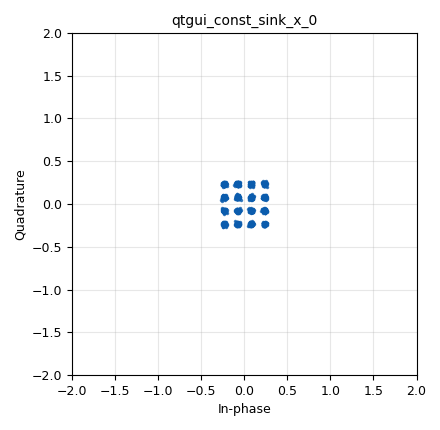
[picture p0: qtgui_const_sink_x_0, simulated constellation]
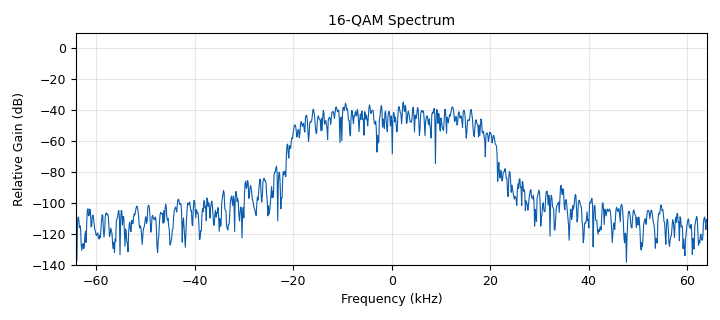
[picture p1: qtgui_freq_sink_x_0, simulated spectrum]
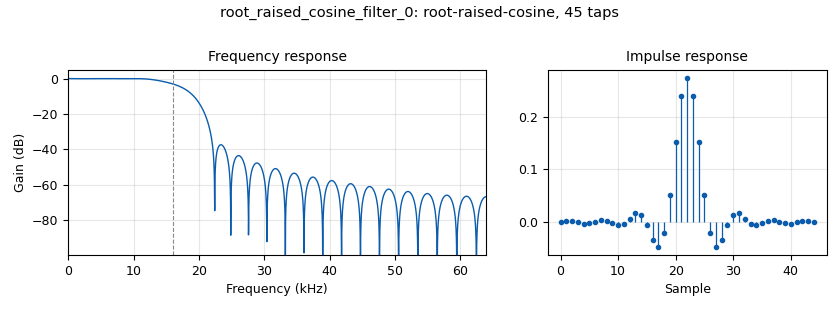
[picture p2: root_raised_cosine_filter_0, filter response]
options:
  parameters:
    generate_options: qt_gui
    id: qam16_sdr_simulation
    output_language: python
    title: 16-QAM SDR Simulation
  states: {}

blocks:
- name: constellation_16qam
  id: variable
  parameters:
    value: |-
      digital.constellation_calcdist(
          [
              (-3-3j)/3.16227766, (-3-1j)/3.16227766,
              (-3+1j)/3.16227766, (-3+3j)/3.16227766,
              (-1-3j)/3.16227766, (-1-1j)/3.16227766,
              (-1+1j)/3.16227766, (-1+3j)/3.16227766,
              (1-3j)/3.16227766, (1-1j)/3.16227766,
              (1+1j)/3.16227766, (1+3j)/3.16227766,
              (3-3j)/3.16227766, (3-1j)/3.16227766,
              (3+1j)/3.16227766, (3+3j)/3.16227766
          ],
          list(range(16)),
          4,
          1,
          digital.constellation.NO_NORMALIZATION
      ).base()
  states: {}
- name: samp_rate
  id: variable
  parameters:
    value: '32000'
  states: {}
- name: sps
  id: variable
  parameters:
    value: '4'
  states: {}
- name: analog_random_source_x_0
  id: analog_random_source_x
  parameters:
    max: '16'
    min: '0'
    num_samps: '10000'
    repeat: 'True'
    type: byte
  states: {}
- name: blocks_file_sink_0
  id: blocks_file_sink
  parameters:
    file: tx_bits.dat
    type: byte
    unbuffered: 'True'
  states: {}
- name: blocks_file_sink_2
  id: blocks_file_sink
  parameters:
    file: rx_bits.dat
    type: byte
    unbuffered: 'True'
  states: {}
- name: blocks_repack_bits_bb_0
  id: blocks_repack_bits_bb
  parameters:
    endianness: gr.GR_LSB_FIRST
    k: '4'
    l: '1'
    len_tag_key: ''
  states: {}
- name: blocks_repack_bits_bb_1
  id: blocks_repack_bits_bb
  parameters:
    endianness: gr.GR_LSB_FIRST
    k: '4'
    l: '1'
    len_tag_key: ''
  states: {}
- name: blocks_throttle_0
  id: blocks_throttle
  parameters:
    samples_per_second: samp_rate*sps
    type: complex
  states: {}
- name: channels_channel_model_0
  id: channels_channel_model
  parameters:
    epsilon: '1.0'
    freq_offset: '0.0'
    noise_voltage: '0.0'
    seed: '42'
    taps: '1.0'
  states: {}
- name: digital_chunks_to_symbols_xx_0
  id: digital_chunks_to_symbols_xx
  parameters:
    dimension: '1'
    in_type: byte
    out_type: complex
    symbol_table: |-
      [
      (-3-3j)/3.16227766, (-3-1j)/3.16227766,
      (-3+1j)/3.16227766, (-3+3j)/3.16227766,

      (-1-3j)/3.16227766, (-1-1j)/3.16227766,
      (-1+1j)/3.16227766, (-1+3j)/3.16227766,

      (1-3j)/3.16227766, (1-1j)/3.16227766,
      (1+1j)/3.16227766, (1+3j)/3.16227766,

      (3-3j)/3.16227766, (3-1j)/3.16227766,
      (3+1j)/3.16227766, (3+3j)/3.16227766
      ]
  states: {}
- name: digital_constellation_decoder_cb_0
  id: digital_constellation_decoder_cb
  parameters:
    constellation: constellation_16qam
  states: {}
- name: digital_symbol_sync_xx_0
  id: digital_symbol_sync_xx
  parameters:
    constellation: constellation_16qam
    damping: '1.0'
    loop_bw: '0.045'
    max_dev: '1.5'
    osps: '1'
    resamp_type: digital.IR_MMSE_8TAP
    sps: sps
    ted_gain: '1.0'
    ted_type: digital.TED_MUELLER_AND_MULLER
    type: cc
  states: {}
- name: qtgui_const_sink_x_0
  id: qtgui_const_sink_x
  parameters:
    size: '10000'
    type: complex
  states: {}
- name: qtgui_freq_sink_x_0
  id: qtgui_freq_sink_x
  parameters:
    bw: samp_rate*sps
    fc: '0'
    fftsize: '1024'
    name: 16-QAM Spectrum
    type: complex
  states: {}
- name: root_raised_cosine_filter_0
  id: root_raised_cosine_filter
  parameters:
    alpha: '0.35'
    gain: '1'
    interp: sps
    ntaps: 11*sps
    samp_rate: samp_rate*sps
    sym_rate: samp_rate
    type: interp_fir_filter_ccf
  states: {}
- name: root_raised_cosine_filter_1
  id: root_raised_cosine_filter
  parameters:
    alpha: '0.35'
    gain: '1'
    interp: '1'
    ntaps: '44'
    samp_rate: '128000'
    sym_rate: '32000'
    type: interp_fir_filter_ccf
  states: {}

connections:
- [analog_random_source_x_0, '0', blocks_repack_bits_bb_1, '0']
- [analog_random_source_x_0, '0', digital_chunks_to_symbols_xx_0, '0']
- [blocks_repack_bits_bb_0, '0', blocks_file_sink_2, '0']
- [blocks_repack_bits_bb_1, '0', blocks_file_sink_0, '0']
- [blocks_throttle_0, '0', channels_channel_model_0, '0']
- [channels_channel_model_0, '0', root_raised_cosine_filter_1, '0']
- [digital_chunks_to_symbols_xx_0, '0', root_raised_cosine_filter_0, '0']
- [digital_constellation_decoder_cb_0, '0', blocks_repack_bits_bb_0, '0']
- [digital_symbol_sync_xx_0, '0', digital_constellation_decoder_cb_0, '0']
- [digital_symbol_sync_xx_0, '0', qtgui_const_sink_x_0, '0']
- [root_raised_cosine_filter_0, '0', blocks_throttle_0, '0']
- [root_raised_cosine_filter_0, '0', qtgui_freq_sink_x_0, '0']
- [root_raised_cosine_filter_1, '0', digital_symbol_sync_xx_0, '0']

metadata:
  file_format: 1
